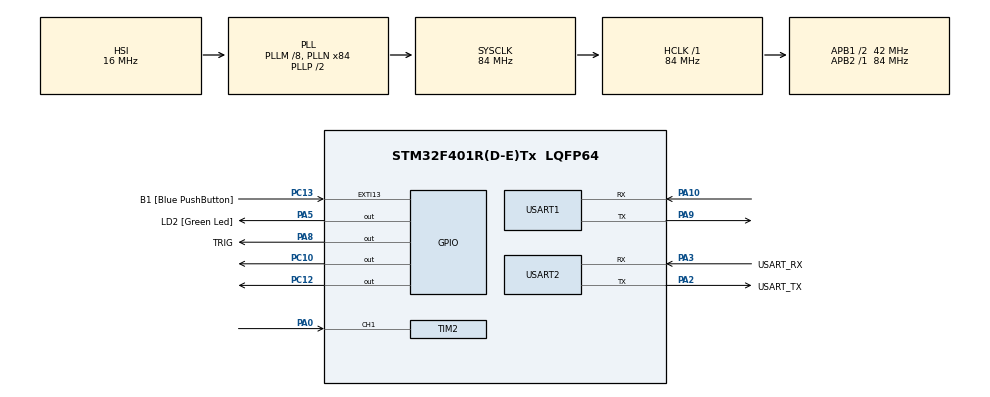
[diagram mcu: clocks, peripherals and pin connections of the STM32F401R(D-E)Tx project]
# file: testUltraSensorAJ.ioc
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Mcu.Family=STM32F4
Mcu.Name=STM32F401R(D-E)Tx
Mcu.Package=LQFP64
NVIC.PriorityGroup=NVIC_PRIORITYGROUP_0
NVIC.TIM2_IRQn=true\:0\:0\:false\:false\:true\:true\:true
NVIC.USART1_IRQn=true\:0\:0\:false\:false\:true\:true\:true
PA0-WKUP.Signal=S_TIM2_CH1_ETR
PA10.Mode=Asynchronous
PA10.Signal=USART1_RX
PA13.GPIO_Label=TMS
PA13.Mode=Serial_Wire
PA13.Signal=SYS_JTMS-SWDIO
PA14.GPIO_Label=TCK
PA14.Mode=Serial_Wire
PA14.Signal=SYS_JTCK-SWCLK
PA2.GPIO_Label=USART_TX
PA2.GPIO_Mode=GPIO_MODE_AF_PP
PA2.GPIO_PuPd=GPIO_NOPULL
PA2.GPIO_Speed=GPIO_SPEED_FREQ_LOW
PA2.Mode=Asynchronous
PA2.Signal=USART2_TX
PA3.GPIO_Label=USART_RX
PA3.GPIO_Mode=GPIO_MODE_AF_PP
PA3.GPIO_PuPd=GPIO_NOPULL
PA3.GPIO_Speed=GPIO_SPEED_FREQ_LOW
PA3.Mode=Asynchronous
PA3.Signal=USART2_RX
PA5.GPIO_Label=LD2 [Green Led]
PA5.GPIO_Mode=GPIO_MODE_OUTPUT_PP
PA5.GPIO_PuPd=GPIO_NOPULL
PA5.GPIO_Speed=GPIO_SPEED_FREQ_LOW
PA5.Signal=GPIO_Output
PA8.GPIO_Label=TRIG
PA8.Signal=GPIO_Output
PA9.Mode=Asynchronous
PA9.Signal=USART1_TX
PB3.GPIO_Label=SWO
PB3.Signal=SYS_JTDO-SWO
PC10.Signal=GPIO_Output
PC12.Signal=GPIO_Output
PC13-ANTI_TAMP.GPIO_Label=B1 [Blue PushButton]
PC13-ANTI_TAMP.GPIO_ModeDefaultEXTI=GPIO_MODE_IT_FALLING
PC13-ANTI_TAMP.GPIO_PuPd=GPIO_NOPULL
PC13-ANTI_TAMP.Signal=GPXTI13
PC14-OSC32_IN.Mode=LSE-External-Oscillator
PC14-OSC32_IN.Signal=RCC_OSC32_IN
PC15-OSC32_OUT.Mode=LSE-External-Oscillator
PC15-OSC32_OUT.Signal=RCC_OSC32_OUT
PH0\ -\ OSC_IN.Mode=HSE-External-Clock-Source
PH0\ -\ OSC_IN.Signal=RCC_OSC_IN
PH1\ -\ OSC_OUT.Mode=HSE-External-Clock-Source
PH1\ -\ OSC_OUT.Signal=RCC_OSC_OUT
ProjectManager.HeapSize=0x200
ProjectManager.StackSize=0x400
ProjectManager.TargetToolchain=STM32CubeIDE
RCC.48MHZClocksFreq_Value=24000000
RCC.AHBFreq_Value=84000000
RCC.APB1CLKDivider=RCC_HCLK_DIV2
RCC.APB1Freq_Value=42000000
RCC.APB1TimFreq_Value=84000000
RCC.APB2Freq_Value=84000000
RCC.APB2TimFreq_Value=84000000
RCC.CortexFreq_Value=84000000
RCC.HCLKFreq_Value=84000000
RCC.HSE_VALUE=8000000
RCC.HSI_VALUE=16000000
RCC.PLLM=8
RCC.PLLN=84
RCC.PLLQ=7
RCC.SYSCLKFreq_VALUE=84000000
RCC.SYSCLKSource=RCC_SYSCLKSOURCE_PLLCLK
RCC.VCOOutputFreq_Value=168000000
SH.S_TIM2_CH1_ETR.0=TIM2_CH1,Input_Capture1_from_TI1
TIM2.Channel-Input_Capture1_from_TI1=TIM_CHANNEL_1
TIM2.ICFilter_CH1=4
TIM2.ICPolarity_CH1=TIM_INPUTCHANNELPOLARITY_BOTHEDGE
TIM2.Period=1000000-1
TIM2.Prescaler=84-1
USART1.VirtualMode=VM_ASYNC
USART2.VirtualMode=VM_ASYNC
VP_TIM2_VS_ClockSourceINT.Mode=Internal
VP_TIM4_VS_ClockSourceINT.Mode=Internal
board=NUCLEO-F401RE

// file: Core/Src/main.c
/* USER CODE BEGIN Header */
/**
  ******************************************************************************
  * @file           : main.c
  * @brief          : Main program body
  ******************************************************************************
  * @attention
  *
  * <h2><center>&copy; Copyright (c) 2022 STMicroelectronics.
  * All rights reserved.</center></h2>
  *
  * This software component is licensed by ST under BSD 3-Clause license,
  * the "License"; You may not use this file except in compliance with the
  * License. You may obtain a copy of the License at:
  *                        opensource.org/licenses/BSD-3-Clause
  *
  ******************************************************************************
  */
/* USER CODE END Header */
#include "main.h"

/* USER CODE BEGIN Includes */
#include <string.h>
#include <stdio.h>
/* USER CODE END Includes */

/* USER CODE BEGIN PTD */
#define usTIM TIM4
/* USER CODE END PTD */

TIM_HandleTypeDef htim2;
TIM_HandleTypeDef htim4;

UART_HandleTypeDef huart1;
UART_HandleTypeDef huart2;

/* USER CODE BEGIN PV */
char Rx_data[11] = {0};
/* USER CODE END PV */

void SystemClock_Config(void);
static void MX_GPIO_Init(void);
static void MX_USART2_UART_Init(void);
static void MX_TIM2_Init(void);
static void MX_USART1_UART_Init(void);
static void MX_TIM4_Init(void);
/* USER CODE BEGIN PFP */
void usDelay(uint32_t uSec);
void calculateDistance(void);
/* USER CODE END PFP */

/* USER CODE BEGIN 0 */
uint8_t icFlag = 0;
uint8_t captureIdx=0;
uint32_t edge1Time=0, edge2Time=0;
const float speedOfSound = 0.0343/2;
float distance;
float distancePrev;
char uartBuf[100];
void HAL_UART_RxCpltCallback(UART_HandleTypeDef *huart)
{
  HAL_UART_Receive_IT(&huart1, (uint8_t*) Rx_data, 11);
//  HAL_UART_Transmit(&huart2, (uint8_t*) Rx_data, sizeof(Rx_data), 1000);
}
/* USER CODE END 0 */

int main(void)
{

  /* MCU Configuration--------------------------------------------------------*/

  /* Reset of all peripherals, Initializes the Flash interface and the Systick. */
  HAL_Init();

  /* Configure the system clock */
  SystemClock_Config();

  /* Initialize all configured peripherals */
  MX_GPIO_Init();
  MX_USART2_UART_Init();
  MX_TIM2_Init();
  MX_USART1_UART_Init();
  MX_TIM4_Init();
  /* USER CODE BEGIN 2 */
  HAL_UART_Receive_IT(&huart1, (uint8_t*) Rx_data,sizeof(Rx_data));
  HAL_GPIO_WritePin(GPIOC, GPIO_PIN_10, GPIO_PIN_RESET);
  HAL_GPIO_WritePin(GPIOC, GPIO_PIN_12, GPIO_PIN_RESET);
  /* USER CODE END 2 */

  /* Infinite loop */
  while (1)
  {

    /* USER CODE BEGIN 3 */
	  	  	calculateDistance();
	  		//Print to UART terminal for debugging
	  		sprintf(uartBuf, "Distance (cm)  = %.1f\r\n", distance);
	  		HAL_UART_Transmit(&huart2, (uint8_t *)uartBuf, strlen(uartBuf), 100);

	  		HAL_Delay(400);
  }
  /* USER CODE END 3 */
}

void SystemClock_Config(void)
{
  RCC_OscInitTypeDef RCC_OscInitStruct = {0};
  RCC_ClkInitTypeDef RCC_ClkInitStruct = {0};

  /** Configure the main internal regulator output voltage
  */
  __HAL_RCC_PWR_CLK_ENABLE();
  __HAL_PWR_VOLTAGESCALING_CONFIG(PWR_REGULATOR_VOLTAGE_SCALE2);
  /** Initializes the RCC Oscillators according to the specified parameters
  * in the RCC_OscInitTypeDef structure.
  */
  RCC_OscInitStruct.OscillatorType = RCC_OSCILLATORTYPE_HSI;
  RCC_OscInitStruct.HSIState = RCC_HSI_ON;
  RCC_OscInitStruct.HSICalibrationValue = RCC_HSICALIBRATION_DEFAULT;
  RCC_OscInitStruct.PLL.PLLState = RCC_PLL_ON;
  RCC_OscInitStruct.PLL.PLLSource = RCC_PLLSOURCE_HSI;
  RCC_OscInitStruct.PLL.PLLM = 8;
  RCC_OscInitStruct.PLL.PLLN = 84;
  RCC_OscInitStruct.PLL.PLLP = RCC_PLLP_DIV2;
  RCC_OscInitStruct.PLL.PLLQ = 7;
  if (HAL_RCC_OscConfig(&RCC_OscInitStruct) != HAL_OK)
  {
    Error_Handler();
  }
  /** Initializes the CPU, AHB and APB buses clocks
  */
  RCC_ClkInitStruct.ClockType = RCC_CLOCKTYPE_HCLK|RCC_CLOCKTYPE_SYSCLK
                              |RCC_CLOCKTYPE_PCLK1|RCC_CLOCKTYPE_PCLK2;
  RCC_ClkInitStruct.SYSCLKSource = RCC_SYSCLKSOURCE_PLLCLK;
  RCC_ClkInitStruct.AHBCLKDivider = RCC_SYSCLK_DIV1;
  RCC_ClkInitStruct.APB1CLKDivider = RCC_HCLK_DIV2;
  RCC_ClkInitStruct.APB2CLKDivider = RCC_HCLK_DIV1;

  if (HAL_RCC_ClockConfig(&RCC_ClkInitStruct, FLASH_LATENCY_2) != HAL_OK)
  {
    Error_Handler();
  }
}

static void MX_TIM2_Init(void)
{

  TIM_ClockConfigTypeDef sClockSourceConfig = {0};
  TIM_MasterConfigTypeDef sMasterConfig = {0};
  TIM_IC_InitTypeDef sConfigIC = {0};

  htim2.Instance = TIM2;
  htim2.Init.Prescaler = 84-1;
  htim2.Init.CounterMode = TIM_COUNTERMODE_UP;
  htim2.Init.Period = 1000000-1;
  htim2.Init.ClockDivision = TIM_CLOCKDIVISION_DIV1;
  htim2.Init.AutoReloadPreload = TIM_AUTORELOAD_PRELOAD_DISABLE;
  if (HAL_TIM_Base_Init(&htim2) != HAL_OK)
  {
    Error_Handler();
  }
  sClockSourceConfig.ClockSource = TIM_CLOCKSOURCE_INTERNAL;
  if (HAL_TIM_ConfigClockSource(&htim2, &sClockSourceConfig) != HAL_OK)
  {
    Error_Handler();
  }
  if (HAL_TIM_IC_Init(&htim2) != HAL_OK)
  {
    Error_Handler();
  }
  sMasterConfig.MasterOutputTrigger = TIM_TRGO_RESET;
  sMasterConfig.MasterSlaveMode = TIM_MASTERSLAVEMODE_DISABLE;
  if (HAL_TIMEx_MasterConfigSynchronization(&htim2, &sMasterConfig) != HAL_OK)
  {
    Error_Handler();
  }
  sConfigIC.ICPolarity = TIM_INPUTCHANNELPOLARITY_BOTHEDGE;
  sConfigIC.ICSelection = TIM_ICSELECTION_DIRECTTI;
  sConfigIC.ICPrescaler = TIM_ICPSC_DIV1;
  sConfigIC.ICFilter = 4;
  if (HAL_TIM_IC_ConfigChannel(&htim2, &sConfigIC, TIM_CHANNEL_1) != HAL_OK)
  {
    Error_Handler();
  }

}

static void MX_TIM4_Init(void)
{

  TIM_ClockConfigTypeDef sClockSourceConfig = {0};
  TIM_MasterConfigTypeDef sMasterConfig = {0};

  htim4.Instance = TIM4;
  htim4.Init.Prescaler = 0;
  htim4.Init.CounterMode = TIM_COUNTERMODE_UP;
  htim4.Init.Period = 65535;
  htim4.Init.ClockDivision = TIM_CLOCKDIVISION_DIV1;
  htim4.Init.AutoReloadPreload = TIM_AUTORELOAD_PRELOAD_DISABLE;
  if (HAL_TIM_Base_Init(&htim4) != HAL_OK)
  {
    Error_Handler();
  }
  sClockSourceConfig.ClockSource = TIM_CLOCKSOURCE_INTERNAL;
  if (HAL_TIM_ConfigClockSource(&htim4, &sClockSourceConfig) != HAL_OK)
  {
    Error_Handler();
  }
  sMasterConfig.MasterOutputTrigger = TIM_TRGO_RESET;
  sMasterConfig.MasterSlaveMode = TIM_MASTERSLAVEMODE_DISABLE;
  if (HAL_TIMEx_MasterConfigSynchronization(&htim4, &sMasterConfig) != HAL_OK)
  {
    Error_Handler();
  }

}

static void MX_USART1_UART_Init(void)
{

  huart1.Instance = USART1;
  huart1.Init.BaudRate = 115200;
  huart1.Init.WordLength = UART_WORDLENGTH_8B;
  huart1.Init.StopBits = UART_STOPBITS_1;
  huart1.Init.Parity = UART_PARITY_NONE;
  huart1.Init.Mode = UART_MODE_TX_RX;
  huart1.Init.HwFlowCtl = UART_HWCONTROL_NONE;
  huart1.Init.OverSampling = UART_OVERSAMPLING_16;
  if (HAL_UART_Init(&huart1) != HAL_OK)
  {
    Error_Handler();
  }

}

static void MX_USART2_UART_Init(void)
{

  huart2.Instance = USART2;
  huart2.Init.BaudRate = 115200;
  huart2.Init.WordLength = UART_WORDLENGTH_8B;
  huart2.Init.StopBits = UART_STOPBITS_1;
  huart2.Init.Parity = UART_PARITY_NONE;
  huart2.Init.Mode = UART_MODE_TX_RX;
  huart2.Init.HwFlowCtl = UART_HWCONTROL_NONE;
  huart2.Init.OverSampling = UART_OVERSAMPLING_16;
  if (HAL_UART_Init(&huart2) != HAL_OK)
  {
    Error_Handler();
  }

}

static void MX_GPIO_Init(void)
{
  GPIO_InitTypeDef GPIO_InitStruct = {0};

  /* GPIO Ports Clock Enable */
  __HAL_RCC_GPIOC_CLK_ENABLE();
  __HAL_RCC_GPIOH_CLK_ENABLE();
  __HAL_RCC_GPIOA_CLK_ENABLE();
  __HAL_RCC_GPIOB_CLK_ENABLE();

  /*Configure GPIO pin Output Level */
  HAL_GPIO_WritePin(GPIOA, LD2_Pin|TRIG_Pin, GPIO_PIN_RESET);

  /*Configure GPIO pin Output Level */
  HAL_GPIO_WritePin(GPIOC, GPIO_PIN_10|GPIO_PIN_12, GPIO_PIN_RESET);

  /*Configure GPIO pin : B1_Pin */
  GPIO_InitStruct.Pin = B1_Pin;
  GPIO_InitStruct.Mode = GPIO_MODE_IT_FALLING;
  GPIO_InitStruct.Pull = GPIO_NOPULL;
  HAL_GPIO_Init(B1_GPIO_Port, &GPIO_InitStruct);

  /*Configure GPIO pins : LD2_Pin TRIG_Pin */
  GPIO_InitStruct.Pin = LD2_Pin|TRIG_Pin;
  GPIO_InitStruct.Mode = GPIO_MODE_OUTPUT_PP;
  GPIO_InitStruct.Pull = GPIO_NOPULL;
  GPIO_InitStruct.Speed = GPIO_SPEED_FREQ_LOW;
  HAL_GPIO_Init(GPIOA, &GPIO_InitStruct);

  /*Configure GPIO pins : PC10 PC12 */
  GPIO_InitStruct.Pin = GPIO_PIN_10|GPIO_PIN_12;
  GPIO_InitStruct.Mode = GPIO_MODE_OUTPUT_PP;
  GPIO_InitStruct.Pull = GPIO_NOPULL;
  GPIO_InitStruct.Speed = GPIO_SPEED_FREQ_LOW;
  HAL_GPIO_Init(GPIOC, &GPIO_InitStruct);

}

/* USER CODE BEGIN 4 */
void usDelay(uint32_t uSec)
{
	if(uSec < 2) uSec = 2;
	usTIM->ARR = uSec - 1; 	/*sets the value in the auto-reload register*/
	usTIM->EGR = 1; 			/*Re-initialises the timer*/
	usTIM->SR &= ~1; 		//Resets the flag
	usTIM->CR1 |= 1; 		//Enables the counter
	while((usTIM->SR&0x0001) != 1);
	usTIM->SR &= ~(0x0001);
}
void HAL_TIM_IC_CaptureCallback(TIM_HandleTypeDef *htim)
{

	HAL_GPIO_TogglePin(GPIOA, GPIO_PIN_5);

		if(captureIdx == 0) //Fisrt edge
		{
			edge1Time = HAL_TIM_ReadCapturedValue(htim, TIM_CHANNEL_1); //__HAL_TIM_GetCounter(&htim3);//

			captureIdx = 1;
		}
		else if(captureIdx == 1) //Second edge
		{
			edge2Time = HAL_TIM_ReadCapturedValue(htim, TIM_CHANNEL_1);
			captureIdx = 0;
			icFlag = 1;
		}
}
void calculateDistance(void){
	//Set TRIG to LOW for few uSec
	HAL_GPIO_WritePin(TRIG_GPIO_Port, TRIG_Pin, GPIO_PIN_RESET);
	usDelay(3);

    //*** START Ultrasonic measure routine ***//
 	//1. Output 10 usec TRIG
	HAL_GPIO_WritePin(TRIG_GPIO_Port, TRIG_Pin, GPIO_PIN_SET);
  	usDelay(10);
 	HAL_GPIO_WritePin(TRIG_GPIO_Port, TRIG_Pin, GPIO_PIN_RESET);

	//2. ECHO signal pulse width

	//Start IC timer
	HAL_TIM_IC_Start_IT(&htim2, TIM_CHANNEL_1);
	//Wait for IC flag
	uint32_t startTick = HAL_GetTick();
	do
	{
		if(icFlag) break;
	}while((HAL_GetTick() - startTick) < 500);  //500ms
	icFlag = 0;
	HAL_TIM_IC_Stop_IT(&htim2, TIM_CHANNEL_1);

	//Calculate distance in cm
	if(edge2Time > edge1Time)
	{
		distance = ((edge2Time - edge1Time) + 0.0f)*speedOfSound;
	}
	//	  		else
	//	  		{
	//	  			distance = 0.0f;
	//	  		}
	float diffDistance = distancePrev-distance;
	if(diffDistance > 10){
		HAL_GPIO_TogglePin(GPIOC, GPIO_PIN_10);
		HAL_GPIO_TogglePin(GPIOC, GPIO_PIN_12);
	}
	distancePrev = distance;
}
/* USER CODE END 4 */

void Error_Handler(void)
{
  __disable_irq();
  while (1)
  {
  }
}

/************************ (C) COPYRIGHT STMicroelectronics *****END OF FILE****/
